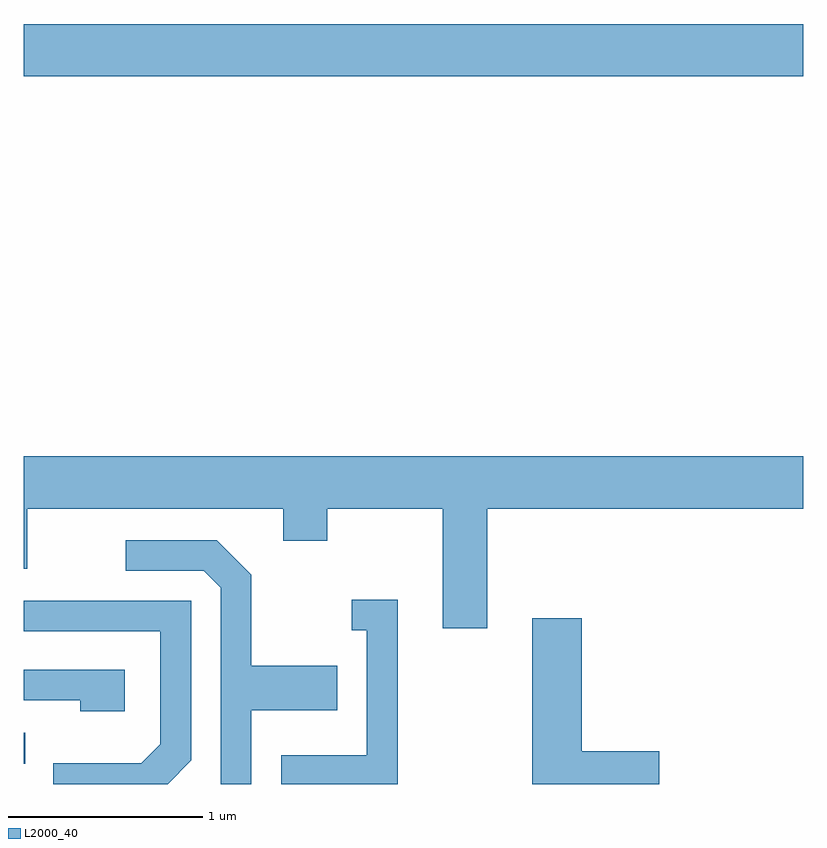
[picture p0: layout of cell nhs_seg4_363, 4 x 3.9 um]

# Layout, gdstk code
import gdstk
lib = gdstk.Library(unit=1e-6, precision=1e-09)
def R(c, l, rs):  # rectangles x0, y0, x1, y1
    for r in rs: c.add(gdstk.rectangle(r[:2], r[2:], *l))
def P(c, l, *ps):  # polygons
    for p in ps: c.add(gdstk.Polygon(p, *l))
L2000_40 = (2000, 40)

nhs_seg4_363 = lib.new_cell('nhs_seg4_363')
R(nhs_seg4_363, L2000_40, [(195.611,1300.086,195.618,1300.244), (195.611,1303.616,199.611,1303.884)])
P(nhs_seg4_363, L2000_40, [(197.989,1301.396),(199.611,1301.396),(199.611,1301.664),(195.611,1301.664),(195.611,1301.086),(195.629,1301.086),(195.629,1301.396),(196.941,1301.396),(196.941,1301.231),(197.169,1301.231),(197.169,1301.396),(197.761,1301.396),(197.761,1300.781),(197.989,1300.781)],
  [(196.779,1300.361),(197.219,1300.361),(197.219,1300.589),(196.779,1300.589),(196.779,1301.057),(196.602,1301.234),(196.133,1301.234),(196.133,1301.076),(196.534,1301.076),(196.621,1300.989),(196.621,1299.982),(196.779,1299.982)],
  [(197.529,1300.929),(197.293,1300.929),(197.293,1300.771),(197.371,1300.771),(197.371,1300.129),(196.931,1300.129),(196.931,1299.982),(197.529,1299.982)],
  [(196.469,1300.104),(196.469,1300.924),(195.611,1300.924),(195.611,1300.766),(196.311,1300.766),(196.311,1300.187),(196.214,1300.089),(195.761,1300.089),(195.761,1299.982),(196.348,1299.982)],
  [(198.874,1300.149),(198.474,1300.149),(198.474,1300.834),(198.221,1300.834),(198.221,1299.982),(198.874,1299.982)],
  [(196.129,1300.569),(195.611,1300.569),(195.611,1300.411),(195.901,1300.411),(195.901,1300.356),(196.129,1300.356)])

lib.write_gds('nhs_seg4_363.gds')
